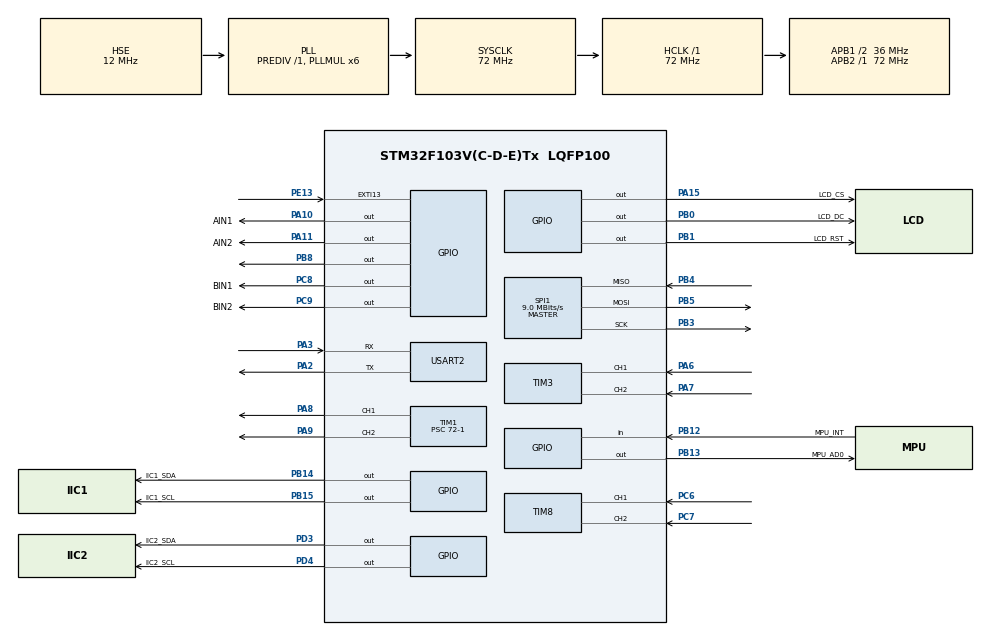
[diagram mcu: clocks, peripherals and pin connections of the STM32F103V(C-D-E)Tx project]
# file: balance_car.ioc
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Dma.Request0=SPI1_TX
Dma.Request1=USART2_RX
Dma.SPI1_TX.0.Direction=DMA_MEMORY_TO_PERIPH
Dma.SPI1_TX.0.Instance=DMA1_Channel3
Dma.SPI1_TX.0.MemDataAlignment=DMA_MDATAALIGN_BYTE
Dma.SPI1_TX.0.MemInc=DMA_MINC_ENABLE
Dma.SPI1_TX.0.Mode=DMA_NORMAL
Dma.SPI1_TX.0.PeriphDataAlignment=DMA_PDATAALIGN_BYTE
Dma.SPI1_TX.0.PeriphInc=DMA_PINC_DISABLE
Dma.SPI1_TX.0.Priority=DMA_PRIORITY_LOW
Dma.USART2_RX.1.Direction=DMA_PERIPH_TO_MEMORY
Dma.USART2_RX.1.Instance=DMA1_Channel6
Dma.USART2_RX.1.MemDataAlignment=DMA_MDATAALIGN_BYTE
Dma.USART2_RX.1.MemInc=DMA_MINC_ENABLE
Dma.USART2_RX.1.Mode=DMA_CIRCULAR
Dma.USART2_RX.1.PeriphDataAlignment=DMA_PDATAALIGN_BYTE
Dma.USART2_RX.1.PeriphInc=DMA_PINC_DISABLE
Dma.USART2_RX.1.Priority=DMA_PRIORITY_LOW
Mcu.Family=STM32F1
Mcu.Name=STM32F103V(C-D-E)Tx
Mcu.Package=LQFP100
NVIC.DMA1_Channel3_IRQn=true\:0\:0\:false\:false\:true\:false\:true\:true
NVIC.DMA1_Channel6_IRQn=true\:0\:0\:false\:false\:true\:false\:true\:true
NVIC.EXTI15_10_IRQn=true\:2\:0\:true\:false\:true\:true\:true\:true
NVIC.PriorityGroup=NVIC_PRIORITYGROUP_4
NVIC.TIM6_IRQn=true\:2\:0\:true\:false\:true\:true\:true\:true
NVIC.USART2_IRQn=true\:0\:0\:false\:false\:true\:true\:true\:true
OSC_IN.Mode=HSE-External-Oscillator
OSC_IN.Signal=RCC_OSC_IN
OSC_OUT.Mode=HSE-External-Oscillator
OSC_OUT.Signal=RCC_OSC_OUT
PA10.GPIO_Label=AIN1
PA10.GPIO_PuPd=GPIO_NOPULL
PA10.Signal=GPIO_Output
PA11.GPIO_Label=AIN2
PA11.GPIO_PuPd=GPIO_NOPULL
PA11.PinState=GPIO_PIN_SET
PA11.Signal=GPIO_Output
PA13.Mode=Serial_Wire
PA13.Signal=SYS_JTMS-SWDIO
PA14.Mode=Serial_Wire
PA14.Signal=SYS_JTCK-SWCLK
PA15.GPIO_Label=LCD_CS
PA15.GPIO_Speed=GPIO_SPEED_FREQ_HIGH
PA15.PinState=GPIO_PIN_SET
PA15.Signal=GPIO_Output
PA2.Mode=Asynchronous
PA2.Signal=USART2_TX
PA3.Mode=Asynchronous
PA3.Signal=USART2_RX
PA6.Signal=S_TIM3_CH1
PA7.Signal=S_TIM3_CH2
PA8.Signal=S_TIM1_CH1
PA9.Signal=S_TIM1_CH2
PB0.GPIO_Label=LCD_DC
PB0.GPIO_Speed=GPIO_SPEED_FREQ_HIGH
PB0.Signal=GPIO_Output
PB1.GPIO_Label=LCD_RST
PB1.GPIO_Speed=GPIO_SPEED_FREQ_HIGH
PB1.PinState=GPIO_PIN_SET
PB1.Signal=GPIO_Output
PB12.GPIO_Label=MPU_INT
PB12.Signal=GPIO_Input
PB13.GPIO_Label=MPU_AD0
PB13.GPIO_PuPd=GPIO_PULLDOWN
PB13.Signal=GPIO_Output
PB14.GPIO_Label=IIC1_SDA
PB14.GPIO_ModeDefaultOutputPP=GPIO_MODE_OUTPUT_OD
PB14.GPIO_PuPd=GPIO_NOPULL
PB14.PinState=GPIO_PIN_SET
PB14.Signal=GPIO_Output
PB15.GPIO_Label=IIC1_SCL
PB15.GPIO_ModeDefaultOutputPP=GPIO_MODE_OUTPUT_OD
PB15.GPIO_PuPd=GPIO_NOPULL
PB15.PinState=GPIO_PIN_SET
PB15.Signal=GPIO_Output
PB3.Mode=Full_Duplex_Master
PB3.Signal=SPI1_SCK
PB4.Mode=Full_Duplex_Master
PB4.Signal=SPI1_MISO
PB5.Mode=Full_Duplex_Master
PB5.Signal=SPI1_MOSI
PB8.GPIO_PuPd=GPIO_PULLUP
PB8.PinState=GPIO_PIN_SET
PB8.Signal=GPIO_Output
PC6.Signal=S_TIM8_CH1
PC7.Signal=S_TIM8_CH2
PC8.GPIO_Label=BIN1
PC8.Signal=GPIO_Output
PC9.GPIO_Label=BIN2
PC9.PinState=GPIO_PIN_SET
PC9.Signal=GPIO_Output
PD3.GPIO_Label=IIC2_SDA
PD3.GPIO_ModeDefaultOutputPP=GPIO_MODE_OUTPUT_OD
PD3.GPIO_PuPd=GPIO_NOPULL
PD3.PinState=GPIO_PIN_SET
PD3.Signal=GPIO_Output
PD4.GPIO_Label=IIC2_SCL
PD4.GPIO_ModeDefaultOutputPP=GPIO_MODE_OUTPUT_OD
PD4.GPIO_PuPd=GPIO_NOPULL
PD4.PinState=GPIO_PIN_SET
PD4.Signal=GPIO_Output
PE13.GPIO_ModeDefaultEXTI=GPIO_MODE_IT_FALLING
PE13.GPIO_PuPd=GPIO_PULLUP
PE13.Signal=GPXTI13
ProjectManager.HeapSize=0x200
ProjectManager.StackSize=0x400
ProjectManager.TargetToolchain=MDK-ARM V5.32
RCC.AHBFreq_Value=72000000
RCC.APB1CLKDivider=RCC_HCLK_DIV2
RCC.APB1Freq_Value=36000000
RCC.APB1TimFreq_Value=72000000
RCC.APB2Freq_Value=72000000
RCC.APB2TimFreq_Value=72000000
RCC.HCLKFreq_Value=72000000
RCC.HSE_VALUE=12000000
RCC.PLLMUL=RCC_PLL_MUL6
RCC.PLLSourceVirtual=RCC_PLLSOURCE_HSE
RCC.SYSCLKFreq_VALUE=72000000
RCC.SYSCLKSource=RCC_SYSCLKSOURCE_PLLCLK
RCC.USBFreq_Value=72000000
SH.S_TIM1_CH1.0=TIM1_CH1,PWM Generation1 CH1
SH.S_TIM1_CH2.0=TIM1_CH2,PWM Generation2 CH2
SH.S_TIM3_CH1.0=TIM3_CH1,Encoder_Interface
SH.S_TIM3_CH2.0=TIM3_CH2,Encoder_Interface
SH.S_TIM8_CH1.0=TIM8_CH1,Encoder_Interface
SH.S_TIM8_CH2.0=TIM8_CH2,Encoder_Interface
SPI1.BaudRatePrescaler=SPI_BAUDRATEPRESCALER_8
SPI1.CalculateBaudRate=9.0 MBits/s
SPI1.Direction=SPI_DIRECTION_2LINES
SPI1.Mode=SPI_MODE_MASTER
SPI1.VirtualType=VM_MASTER
TIM1.AutoReloadPreload=TIM_AUTORELOAD_PRELOAD_ENABLE
TIM1.Channel-PWM\ Generation1\ CH1=TIM_CHANNEL_1
TIM1.Channel-PWM\ Generation2\ CH2=TIM_CHANNEL_2
TIM1.Period=1000-1
TIM1.Prescaler=72-1
TIM3.AutoReloadPreload=TIM_AUTORELOAD_PRELOAD_ENABLE
TIM3.EncoderMode=TIM_ENCODERMODE_TI12
TIM3.IC1Filter=0xF
TIM6.Period=10-1
TIM6.Prescaler=7200-1
TIM8.AutoReloadPreload=TIM_AUTORELOAD_PRELOAD_ENABLE
TIM8.EncoderMode=TIM_ENCODERMODE_TI12
TIM8.IC1Filter=0xF
USART2.VirtualMode=VM_ASYNC
VP_TIM1_VS_ClockSourceINT.Mode=Internal
VP_TIM6_VS_ClockSourceINT.Mode=Enable_Timer
board=custom

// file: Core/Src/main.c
/* USER CODE BEGIN Header */
/**
  ******************************************************************************
  * @file           : main.c
  * @brief          : Main program body
  ******************************************************************************
  * @attention
  *
  * Copyright (c) 2026 STMicroelectronics.
  * All rights reserved.
  *
  * This software is licensed under terms that can be found in the LICENSE file
  * in the root directory of this software component.
  * If no LICENSE file comes with this software, it is provided AS-IS.
  *
  ******************************************************************************
  */
/* USER CODE END Header */
#include "main.h"
#include "dma.h"
#include "spi.h"
#include "tim.h"
#include "usart.h"
#include "gpio.h"

/* USER CODE BEGIN Includes */
#include "motor.h"
#include "lcd.h"
#include "key.h"
#include "mpu6050.h"
#include "iic.h"
#include "tracking.h"
#include "pid_demo.h"
/* USER CODE END Includes */

/* USER CODE BEGIN PV */
uint16_t volatile Tick;
volatile uint8_t Key_Flag;
volatile uint16_t Second;
volatile int16_t speed1;
volatile int16_t speed2;
volatile int16_t MPU6050_Task_Flag;
volatile uint8_t g_speed_fresh = 0;   /* 编码器10ms刷新标志：速度环消费后清零，保证控制与反馈同相同频 */
/* USER CODE END PV */

void SystemClock_Config(void);

int main(void)
{

  /* MCU Configuration--------------------------------------------------------*/

  /* Reset of all peripherals, Initializes the Flash interface and the Systick. */
  HAL_Init();

  /* Configure the system clock */
  SystemClock_Config();

  /* Initialize all configured peripherals */
  MX_GPIO_Init();
  MX_DMA_Init();
  MX_TIM1_Init();
  MX_TIM3_Init();
  MX_TIM6_Init();
  MX_TIM8_Init();
  MX_SPI1_Init();
  MX_USART2_UART_Init();
  /* USER CODE BEGIN 2 */
  Uart2_DmaRxStart();  /* 启动 DMA+IDLE 接收：数据经 RxEventCallback 进环形队列 */
  /* main() 里，所有 MX_TIMx_Init() 之后调用 */
HAL_TIM_PWM_Start(&htim1, TIM_CHANNEL_1);        /* PA8，电机 A */
HAL_TIM_PWM_Start(&htim1, TIM_CHANNEL_2);        /* PA9，电机 B */

HAL_TIM_Base_Start_IT(&htim6);                   /* 仅当 Timebase 还是 SysTick 时才加这行 */

HAL_TIM_Encoder_Start(&htim3, TIM_CHANNEL_ALL);  /* 编码器 1，PA6/PA7 */
HAL_TIM_Encoder_Start(&htim8, TIM_CHANNEL_ALL);  /* 编码器 2，PC6/PC7 */

pid_Init();   /* 初始化三组PID的 kp/ki/kd/限幅，不调用则增益全为0，PID无输出 */
//循迹初始化
Tracking_Task_Init();

  if (ILI9341_Init() != HAL_OK) {
      uart2_send_string("[E] LCD init fail\r\n");   /* LCD失败不致命，只是没显示，车照跑 */
  }
LCD_FillOrFail(LCD_COLOR_BLACK);
if (MPU6050_Init() != IIC_OK) {
      uart2_send_string("[E] MPU no ACK, check IIC1 wiring & pull-ups\r\n");  /* 不杀车，让校准循环去等 */
    }else  uart2_send_string("[E] MPU_Init ok!\r\n");  /* 不杀车，让校准循环去等 */

  /* 校准角速度：MPU不在线时周期性打印提示，不再无声死等（也便于区分"卡住"和"死了"） */
  while (!Calibration_100()) {
      uart2_send_string("[W]等待校准...\r\n");
      LCD_ShowString(0,  0, "wating...:", LCD_COLOR_GREEN, LCD_COLOR_BLACK,32);
      IIC_RecoverBus();   /* 上次运行中途复位可能把MPU晾在半字节、它拉死SDA；打9时钟+STOP解锁 */
  }
  uart2_send_string("[W] 校准完成！\r\n");
 LCD_FillOrFail(LCD_COLOR_WHITE);
   /* USER CODE END 2 */

  /* Infinite loop */
  while (1)
  {

    /* USER CODE BEGIN 3 */
    Key_Task();
    /* MPU6050_Task runs in TIM6 ISR (5 ms), not here */
    LCD_Task();
	Uart_Receive_Task();
	Tracking_Task();
  Uart_Transmit_Task();
  }
  /* USER CODE END 3 */
}

void SystemClock_Config(void)
{
  RCC_OscInitTypeDef RCC_OscInitStruct = {0};
  RCC_ClkInitTypeDef RCC_ClkInitStruct = {0};

  /** Initializes the RCC Oscillators according to the specified parameters
  * in the RCC_OscInitTypeDef structure.
  */
  RCC_OscInitStruct.OscillatorType = RCC_OSCILLATORTYPE_HSE;
  RCC_OscInitStruct.HSEState = RCC_HSE_ON;
  RCC_OscInitStruct.HSEPredivValue = RCC_HSE_PREDIV_DIV1;
  RCC_OscInitStruct.HSIState = RCC_HSI_ON;
  RCC_OscInitStruct.PLL.PLLState = RCC_PLL_ON;
  RCC_OscInitStruct.PLL.PLLSource = RCC_PLLSOURCE_HSE;
  RCC_OscInitStruct.PLL.PLLMUL = RCC_PLL_MUL6;
  if (HAL_RCC_OscConfig(&RCC_OscInitStruct) != HAL_OK)
  {
    Error_Handler();
  }

  /** Initializes the CPU, AHB and APB buses clocks
  */
  RCC_ClkInitStruct.ClockType = RCC_CLOCKTYPE_HCLK|RCC_CLOCKTYPE_SYSCLK
                              |RCC_CLOCKTYPE_PCLK1|RCC_CLOCKTYPE_PCLK2;
  RCC_ClkInitStruct.SYSCLKSource = RCC_SYSCLKSOURCE_PLLCLK;
  RCC_ClkInitStruct.AHBCLKDivider = RCC_SYSCLK_DIV1;
  RCC_ClkInitStruct.APB1CLKDivider = RCC_HCLK_DIV2;
  RCC_ClkInitStruct.APB2CLKDivider = RCC_HCLK_DIV1;

  if (HAL_RCC_ClockConfig(&RCC_ClkInitStruct, FLASH_LATENCY_2) != HAL_OK)
  {
    Error_Handler();
  }
}

/* USER CODE BEGIN 4 */

//串口发送中断
void HAL_UART_TxCpltCallback(UART_HandleTypeDef *huart)
{
    if (huart->Instance == USART2) {
        tx_busy = 0;
		//HAL_GPIO_WritePin(GPIOB, GPIO_PIN_8, GPIO_PIN_RESET);
    }
}
//串口错误回调：噪声/帧错误/溢出会把 DMA 接收中止掉，必须重启，否则接收悄悄死掉
void HAL_UART_ErrorCallback(UART_HandleTypeDef *huart)
{
    if (huart->Instance == USART2)
    {
        __HAL_UART_CLEAR_PEFLAG(huart);  /* 清PE/FE/ORE标志，防止标志残留导致ISR反复重入 */
        (void)Uart2_DmaRxStart();        /* 重启失败也只是串口暂不可用，下次错误再试，绝不杀车 */
    }
}
//按键3
void HAL_GPIO_EXTI_Callback(uint16_t GPIO_Pin)
{
    static uint32_t last_press_ms = 0;
    if (GPIO_Pin == GPIO_PIN_13) // 判断是不是 PE13 触发的中断
    {
        /* 200ms 消抖：机械按键一次按下会抖出多个下降沿，
           不消抖 ^= 会把 Key_Flag 抖回原值，现象就是"按了没反应" */
        uint32_t now = HAL_GetTick();
        if (now - last_press_ms < 200) return;
        if (HAL_GPIO_ReadPin(GPIOE, GPIO_PIN_13) == GPIO_PIN_RESET) // 确认按键真的被按下（低电平）
        {
            last_press_ms = now;
            Key_Flag^=1;
            // const char *msg = (Key_Flag) ? "KEY ON\r\n" : "KEY OFF\r\n";
            // while (tx_busy);           /* 调试用：确认EXTI是否真的触发，调好后可删 */
            // HAL_UART_Transmit(&huart2, (uint8_t *)msg, 8, 20);
           // HAL_GPIO_TogglePin(GPIOA, GPIO_PIN_5);
        }
    }
}
//定时器6计时
void HAL_TIM_PeriodElapsedCallback(TIM_HandleTypeDef *htim)
{
    if (htim->Instance == TIM6)
    {
      Tick++;

      if(gyro_cal.done && Tick%5==0){MPU6050_Task();}/* run in ISR, skip I2C until calibrated */

       if(Tick%1000==0){
        Second++;

        int16_t cnt1=(int16_t)__HAL_TIM_GET_COUNTER(&htim3);//车身参考系左轮E1A/B
        int16_t cnt2=(int16_t)__HAL_TIM_GET_COUNTER(&htim8);//车身参考系右轮E2A/B
        speed1=cnt1;
        speed2=cnt2;
        __HAL_TIM_SET_COUNTER(&htim3,0);
        __HAL_TIM_SET_COUNTER(&htim8,0);
        g_speed_fresh = 1;

       }
    }
}
/* USER CODE END 4 */

void Error_Handler(void)
{
  /* USER CODE BEGIN Error_Handler_Debug */
  /* User can add his own implementation to report the HAL error return state */
  __disable_irq();
  while (1)
  {
	  HAL_GPIO_WritePin(GPIOB, GPIO_PIN_8, GPIO_PIN_RESET);
  }
  /* USER CODE END Error_Handler_Debug */
}
